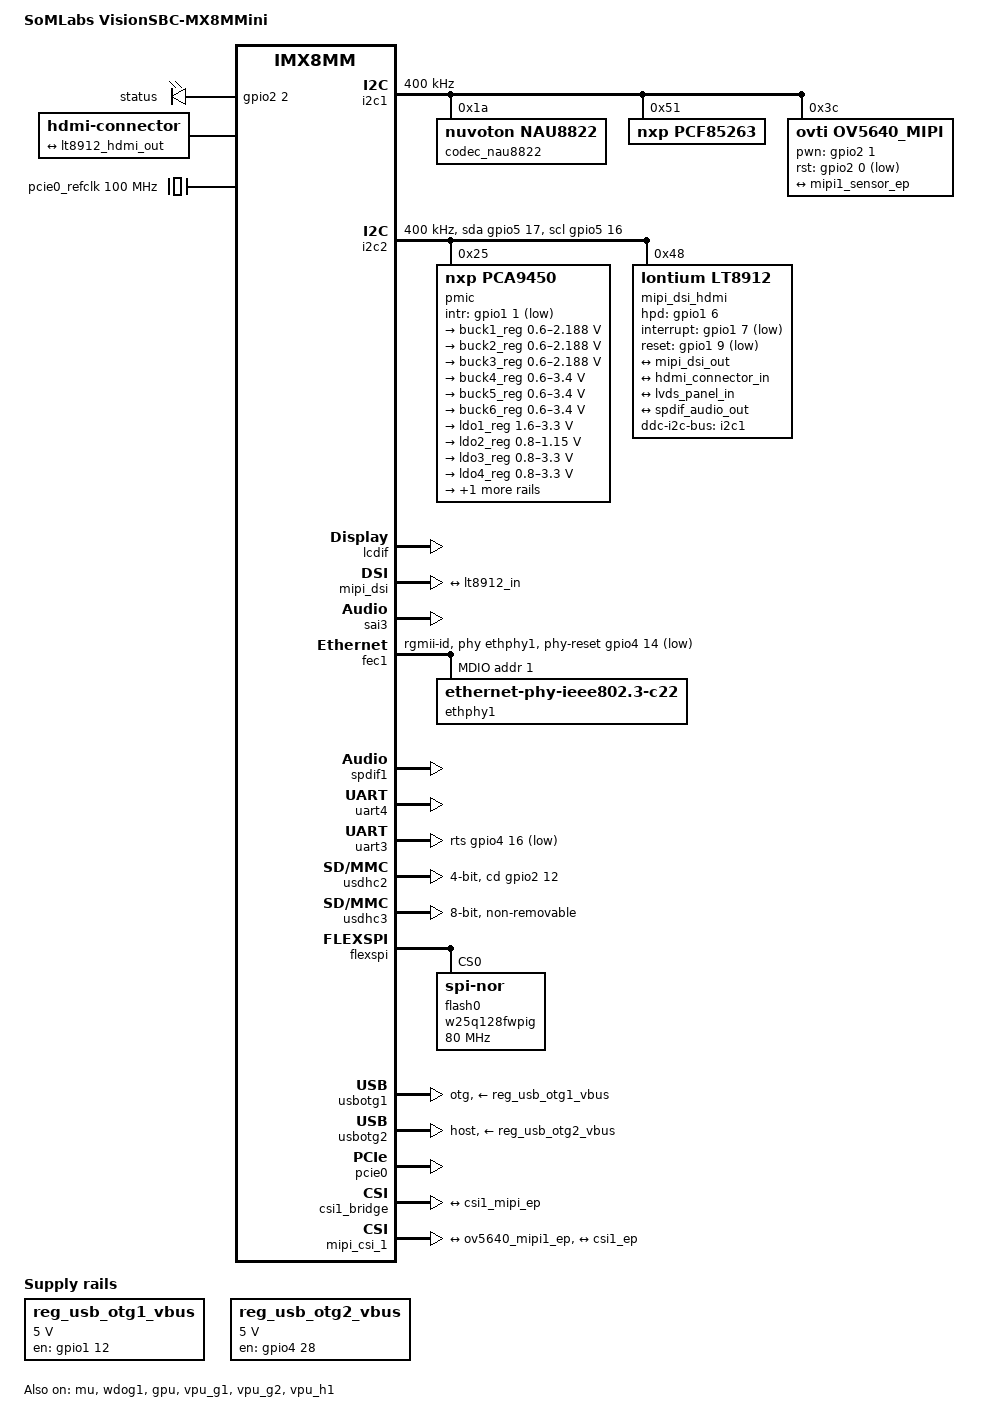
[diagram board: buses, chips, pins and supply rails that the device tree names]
// SPDX-License-Identifier: GPL-2.0-or-later
/*
 * Copyright 2020 SomLabs
 *
 */

/dts-v1/;

#include "imx8mm.dtsi"

/ {
    model = "SoMLabs VisionSBC-MX8MMini";
    compatible = "somlabs,visionsom-8mmini", "fsl,imx8mm";

    reserved-memory {
        #address-cells = <2>;
        #size-cells = <2>;
        ranges;

        rpmsg_reserved: rpmsg@0xb8000000 {
            no-map;
            reg = <0 0xb8000000 0 0x400000>;
        };
    };

    chosen {
        bootargs = "console=ttymxc3,115200 earlycon=ec_imx6q,0x30a60000,115200";
        stdout-path = &uart4;
    };

    leds {      /* dedicated led for system status */
        compatible = "gpio-leds";
        pinctrl-names = "default";
        pinctrl-0 = <&pinctrl_gpio_led>;

        status {
            label = "status";
            gpios = <&gpio2 2 0>;
            linux,default-trigger = "heartbeat";
        };
    };

    sound {
        /* generic sound card */
        compatible = "simple-audio-card";
        simple-audio-card,name = "nau8822";

        simple-audio-card,widgets =
                "Headphones", "Headphones",
                "Line Out", "Line Out",
                "Speaker", "Speaker",
                "Microphone", "Mic In";
        simple-audio-card,routing =
                "Headphones", "LHP",
                "Headphones", "RHP",
                "Speaker", "LSPK",
                "Speaker", "RSPK",
                "Line Out", "AUXOUT1",
                "Line Out", "AUXOUT2",
                "LMICP",    "Mic In",
                "RMICP",    "Mic In";

        simple-audio-card,format = "i2s";
        simple-audio-card,bitclock-master = <&dailink_master>;
        simple-audio-card,frame-master = <&dailink_master>;

        simple-audio-card,cpu {
            sound-dai = <&sai3>;
        };

        dailink_master: simple-audio-card,codec {
            sound-dai = <&codec_nau8822>;
            clocks = <&clk IMX8MM_CLK_SAI3_ROOT>;
        };
    };

    sound-hdmi {
        compatible = "fsl,imx-audio-spdif";
        model = "imx-spdif";
        spdif-controller = <&spdif1>;
        spdif-out;
        port {
            spdif_audio_out: endpoint {
                remote-endpoint = <&lt8912_audio_in>;
            };
        };
    };

    hdmi {
        compatible = "hdmi-connector";
        type = "a";

        port {
            hdmi_connector_in: endpoint {
                remote-endpoint = <&lt8912_hdmi_out>;
            };
        };
    };

    reg_usb_otg1_vbus: regulator@2 {
        compatible = "regulator-fixed";
        pinctrl-names = "default";
        pinctrl-0 = <&pinctrl_usb_otg1>;
        regulator-name = "usb_otg1_vbus";
        regulator-min-microvolt = <5000000>;
        regulator-max-microvolt = <5000000>;
        gpio = <&gpio1 12 GPIO_ACTIVE_HIGH>;
        enable-active-high;
    };

    reg_usb_otg2_vbus: regulator@3 {
        compatible = "regulator-fixed";
        pinctrl-names = "default";
        pinctrl-0 = <&pinctrl_usb_otg2_hubrst>;
        regulator-name = "usb_otg2_vbus";
        regulator-min-microvolt = <5000000>;
        regulator-max-microvolt = <5000000>;
        gpio = <&gpio4 28 GPIO_ACTIVE_HIGH>;
        enable-active-high;
    };

    panel: panel {
        compatible = "panel-lvds";
        status = "disabled";

        height-mm = <136>;
        width-mm = <217>;

        data-mapping = "vesa-24";

        panel-timing {
            clock-frequency = <75000000>;
            hactive = <1280>;
            vactive = <800>;
            hback-porch = <40>;
            hfront-porch = <40>;
            hsync-len = <48>;
            vback-porch = <29>;
            vfront-porch = <13>;
            vsync-len = <3>;
        };

        port {
            lvds_panel_in: endpoint {
                remote-endpoint = <&lt8912_lvds_out>;
            };
        };
    };

    clocks {
        pcie0_refclk: pcie0-refclk {
            compatible = "fixed-clock";
            #clock-cells = <0>;
            clock-frequency = <100000000>;
        };
    };
};

&{/reserved-memory/linux,cma} {
    alloc-ranges = <0 0x40000000 0 0x60000000>;
};

&i2c1 {
    clock-frequency = <400000>;
    pinctrl-names = "default";
    pinctrl-0 = <&pinctrl_i2c1>;
    status = "okay";

    codec_nau8822: nau8822@1a {
        compatible = "nuvoton,nau8822";
        reg = <0x1a>;
        #sound-dai-cells = <0>;
    };

    pcf85263@51 {
        compatible = "nxp,pcf85263";
        reg = <0x51>;
    };

    ov5640_mipi: ov5640_mipi@3c {
        compatible = "ovti,ov5640_mipi";
        reg = <0x3c>;
        status = "okay";
        pinctrl-names = "default";
        pinctrl-0 = <&pinctrl_csi>;
        clocks = <&clk IMX8MM_CLK_CLKO1>;
        clock-names = "csi_mclk";
        assigned-clocks = <&clk IMX8MM_CLK_CLKO1>;
        assigned-clock-parents = <&clk IMX8MM_CLK_24M>;
        assigned-clock-rates = <24000000>;
        csi_id = <0>;
        pwn-gpios = <&gpio2 1 GPIO_ACTIVE_HIGH>;
        rst-gpios = <&gpio2 0 GPIO_ACTIVE_LOW>;
        mclk = <24000000>;
        port {
            ov5640_mipi1_ep: endpoint {
                remote-endpoint = <&mipi1_sensor_ep>;
            };
        };
    };
};

&i2c2 {
    clock-frequency = <400000>;
    pinctrl-names = "default";
    pinctrl-0 = <&pinctrl_i2c2>;
    pinctrl-1 = <&pinctrl_i2c2_gpio>;
    scl-gpios = <&gpio5 16 GPIO_ACTIVE_HIGH>;
    sda-gpios = <&gpio5 17 GPIO_ACTIVE_HIGH>;
    status = "okay";

    pmic: pca9450@25 {
        reg = <0x25>;
        compatible = "nxp,pca9450";
        /* PMIC PCA9450 PMIC_nINT GPIO1_IO1 */
        pinctrl-0 = <&pinctrl_pmic>;
        gpio_intr = <&gpio1 1 GPIO_ACTIVE_LOW>;

        regulators {
            #address-cells = <1>;
            #size-cells = <0>;

            pca9450,pmic-buck2-uses-i2c-dvs;
            /* Run/Standby voltage */
            pca9450,pmic-buck2-dvs-voltage = <950000>, <850000>;

            buck1_reg: regulator@0 {
                reg = <0>;
                regulator-compatible = "buck1";
                regulator-min-microvolt = <600000>;
                regulator-max-microvolt = <2187500>;
                regulator-boot-on;
                regulator-always-on;
                regulator-ramp-delay = <3125>;
            };

            buck2_reg: regulator@1 {
                reg = <1>;
                regulator-compatible = "buck2";
                regulator-min-microvolt = <600000>;
                regulator-max-microvolt = <2187500>;
                regulator-boot-on;
                regulator-always-on;
                regulator-ramp-delay = <3125>;
            };

            buck3_reg: regulator@2 {
                reg = <2>;
                regulator-compatible = "buck3";
                regulator-min-microvolt = <600000>;
                regulator-max-microvolt = <2187500>;
                regulator-boot-on;
                regulator-always-on;
            };

            buck4_reg: regulator@3 {
                reg = <3>;
                regulator-compatible = "buck4";
                regulator-min-microvolt = <600000>;
                regulator-max-microvolt = <3400000>;
                regulator-boot-on;
                regulator-always-on;
            };

            buck5_reg: regulator@4 {
                reg = <4>;
                regulator-compatible = "buck5";
                regulator-min-microvolt = <600000>;
                regulator-max-microvolt = <3400000>;
                regulator-boot-on;
                regulator-always-on;
            };

            buck6_reg: regulator@5 {
                reg = <5>;
                regulator-compatible = "buck6";
                regulator-min-microvolt = <600000>;
                regulator-max-microvolt = <3400000>;
                regulator-boot-on;
                regulator-always-on;
            };

            ldo1_reg: regulator@6 {
                reg = <6>;
                regulator-compatible = "ldo1";
                regulator-min-microvolt = <1600000>;
                regulator-max-microvolt = <3300000>;
                regulator-boot-on;
                regulator-always-on;
            };

            ldo2_reg: regulator@7 {
                reg = <7>;
                regulator-compatible = "ldo2";
                regulator-min-microvolt = <800000>;
                regulator-max-microvolt = <1150000>;
                regulator-boot-on;
                regulator-always-on;
            };

            ldo3_reg: regulator@8 {
                reg = <8>;
                regulator-compatible = "ldo3";
                regulator-min-microvolt = <800000>;
                regulator-max-microvolt = <3300000>;
                regulator-boot-on;
                regulator-always-on;
            };

            ldo4_reg: regulator@9 {
                reg = <9>;
                regulator-compatible = "ldo4";
                regulator-min-microvolt = <800000>;
                regulator-max-microvolt = <3300000>;
                regulator-boot-on;
                regulator-always-on;
            };

            ldo5_reg: regulator@10 {
                reg = <10>;
                regulator-compatible = "ldo5";
                regulator-min-microvolt = <1800000>;
                regulator-max-microvolt = <3300000>;
            };
        };
    };

    /* MIPI-DSI to HDMI/LVDS adapter */
    mipi_dsi_hdmi: lt8912@48 {
        compatible = "lontium,lt8912";
        reg = <0x48>;
        ddc-i2c-bus = <&i2c1>;
        status = "okay";
        pinctrl-names = "default";
        pinctrl-0 = <&pinctrl_mipi2hdmi>;
        hpd-gpios = <&gpio1 6 GPIO_ACTIVE_HIGH>;
        interrupt-gpios = <&gpio1 7 GPIO_ACTIVE_LOW>;
        reset-gpios = <&gpio1 9 GPIO_ACTIVE_LOW>;

        ports {
            #address-cells = <1>;
            #size-cells = <0>;
            port@0 {
                reg = <0>;
                lt8912_in: endpoint {
                    remote-endpoint = <&mipi_dsi_out>;
                };
            };
            port@1 {
                reg = <1>;
                lt8912_hdmi_out: endpoint {
                    remote-endpoint = <&hdmi_connector_in>;
                };
            };

            port@2 {
                reg = <2>;
                lt8912_lvds_out: endpoint {
                    remote-endpoint = <&lvds_panel_in>;
                };
            };

            port@3 {
                reg = <3>;
                lt8912_audio_in: endpoint {
                    remote-endpoint = <&spdif_audio_out>;
                };
            };
        };
    };

};

&lcdif {
    status = "okay";
};

&mipi_dsi {
    status = "okay";

    port@1 {
        mipi_dsi_out: endpoint {
            remote-endpoint = <&lt8912_in>;
            attach-bridge;
        };
    };
};

&sai3 {
    pinctrl-names = "default";
    pinctrl-0 = <&pinctrl_sai3>;
    clocks = <&clk IMX8MM_CLK_SAI3_IPG>, <&clk IMX8MM_CLK_DUMMY>,
        <&clk IMX8MM_CLK_SAI1_ROOT>, <&clk IMX8MM_CLK_DUMMY>,
        <&clk IMX8MM_CLK_DUMMY>, <&clk IMX8MM_AUDIO_PLL1_OUT>,
        <&clk IMX8MM_AUDIO_PLL2_OUT>;
    clock-names = "bus", "mclk0", "mclk1", "mclk2", "mclk3", "pll8k", "pll11k";
    assigned-clocks = <&clk IMX8MM_CLK_SAI3>;
    assigned-clock-parents = <&clk IMX8MM_AUDIO_PLL1_OUT>;
    assigned-clock-rates = <12288000>;
    status = "okay";
};

&fec1 {
    pinctrl-names = "default";
    pinctrl-0 = <&pinctrl_fec1>;
    phy-mode = "rgmii-id";
    phy-handle = <&ethphy1>;
    phy-reset-gpios = <&gpio4 14 GPIO_ACTIVE_LOW>; /* GPIO4_14 */
    phy-reset-duration = <10>;
    phy-reset-post-delay = <50>;
    phy-int-gpios = <&gpio5 6 GPIO_ACTIVE_LOW>; /* GPIO5_6 */
    fsl,magic-packet;
    status = "okay";

    mdio {
        #address-cells = <1>;
        #size-cells = <0>;

        ethphy1: ethernet-phy@1 {
            compatible = "ethernet-phy-ieee802.3-c22";
            reg = <1>;
        };
    };
};

&spdif1 {
    pinctrl-names = "default";
    pinctrl-0 = <&pinctrl_spdif1>;
    assigned-clocks = <&clk IMX8MM_CLK_SPDIF1>;
    assigned-clock-parents = <&clk IMX8MM_AUDIO_PLL1_OUT>;
    assigned-clock-rates = <24576000>;
    clocks = <&clk IMX8MM_CLK_AUDIO_AHB>, <&clk IMX8MM_CLK_24M>,
        <&clk IMX8MM_CLK_SPDIF1>, <&clk IMX8MM_CLK_DUMMY>,
        <&clk IMX8MM_CLK_DUMMY>, <&clk IMX8MM_CLK_DUMMY>,
        <&clk IMX8MM_CLK_AUDIO_AHB>, <&clk IMX8MM_CLK_DUMMY>,
        <&clk IMX8MM_CLK_DUMMY>, <&clk IMX8MM_CLK_DUMMY>,
        <&clk IMX8MM_AUDIO_PLL1_OUT>, <&clk IMX8MM_AUDIO_PLL2_OUT>;
    clock-names = "core", "rxtx0", "rxtx1", "rxtx2", "rxtx3",
        "rxtx4", "rxtx5", "rxtx6", "rxtx7", "spba", "pll8k", "pll11k";
    status = "okay";
};

&mu {
    status = "okay";
};

&uart4 { /* console */
    pinctrl-names = "default";
    pinctrl-0 = <&pinctrl_uart4>;
    status = "okay";
};

&uart3 {
    pinctrl-names = "default";
    pinctrl-0 = <&pinctrl_uart3>;
    rts-gpios = <&gpio4 16 GPIO_ACTIVE_LOW>;
    linux,rs485-enabled-at-boot-time;
    status = "okay";
};

&usdhc2 {           /* uSD card interface */
    #address-cells = <1>;
    #size-cells = <0>;
    pinctrl-names = "default", "state_100mhz", "state_200mhz";
    pinctrl-0 = <&pinctrl_usdhc2>, <&pinctrl_usdhc2_cd>;
    pinctrl-1 = <&pinctrl_usdhc2_100mhz>, <&pinctrl_usdhc2_cd>;
    pinctrl-2 = <&pinctrl_usdhc2_200mhz>, <&pinctrl_usdhc2_cd>;
    cd-gpios = <&gpio2 12 GPIO_ACTIVE_HIGH>;
    no-1-8-v;           //todo: PMIC allows to control SD card voltage, add support for this in software/dts
    bus-width = <4>;
    status = "okay";
};

/*
 *  Internal eMMC
 */
&usdhc3 {
    pinctrl-names = "default", "state_100mhz", "state_200mhz";
    pinctrl-0 = <&pinctrl_usdhc3>;
    pinctrl-1 = <&pinctrl_usdhc3_100mhz>;
    pinctrl-2 = <&pinctrl_usdhc3_200mhz>;
    bus-width = <8>;
    non-removable;
    status = "okay";
};

&flexspi {
    pinctrl-names = "default";
    pinctrl-0 = <&pinctrl_flexspi0>;
    status = "okay";

    flash0: w25q128fwpig@0 {
        reg = <0>;
        #address-cells = <1>;
        #size-cells = <1>;
        compatible = "jedec,spi-nor";
        spi-max-frequency = <80000000>;
        spi-tx-bus-width = <4>;
        spi-rx-bus-width = <4>;
    };
};

&usbotg1 {
    dr_mode = "otg";
    vbus-supply = <&reg_usb_otg1_vbus>;
    picophy,pre-emp-curr-control = <3>;
    picophy,dc-vol-level-adjust = <7>;
    status = "okay";
};

&usbotg2 {
    dr_mode = "host";
    pinctrl-names = "default";
    pinctrl-0 = <&pinctrl_usb_otg2>;
    over-current-active-low;
    power-active-high;
    vbus-supply = <&reg_usb_otg2_vbus>;
    picophy,pre-emp-curr-control = <3>;
    picophy,dc-vol-level-adjust = <7>;
    status = "okay";
};

&wdog1 {
    pinctrl-names = "default";
    pinctrl-0 = <&pinctrl_wdog>;
    fsl,ext-reset-output;
    status = "okay";
};

&A53_0 {
    cpu-supply = <&buck2_reg>;
};

&gpu {
    status = "okay";
};

&vpu_g1 {
    status = "okay";
};

&vpu_g2 {
    status = "okay";
};

&vpu_h1 {
    status = "okay";
};

&pcie0{
    clocks = <&clk IMX8MM_CLK_PCIE1_ROOT>,
         <&clk IMX8MM_CLK_PCIE1_AUX>,
         <&clk IMX8MM_CLK_PCIE1_PHY>,
         <&pcie0_refclk>;
    clock-names = "pcie", "pcie_aux", "pcie_phy", "pcie_bus";
    assigned-clocks = <&clk IMX8MM_CLK_PCIE1_AUX>,
                      <&clk IMX8MM_CLK_PCIE1_PHY>,
                      <&clk IMX8MM_CLK_PCIE1_CTRL>;
    assigned-clock-rates = <10000000>, <100000000>, <250000000>;
    assigned-clock-parents = <&clk IMX8MM_SYS_PLL2_50M>,
                             <&clk IMX8MM_SYS_PLL2_100M>,
                             <&clk IMX8MM_SYS_PLL2_250M>;
    reserved-region = <&rpmsg_reserved>;
    ext_osc = <0>;
    status = "okay";
};

&csi1_bridge {
	fsl,mipi-mode;
	status = "okay";
	port {
		csi1_ep: endpoint {
			remote-endpoint = <&csi1_mipi_ep>;
		};
	};
};

&mipi_csi_1 {
	#address-cells = <1>;
	#size-cells = <0>;
	status = "okay";
	port {
		mipi1_sensor_ep: endpoint@1 {
			remote-endpoint = <&ov5640_mipi1_ep>;
			data-lanes = <2>;
			csis-hs-settle = <13>;
			csis-clk-settle = <2>;
			csis-wclk;
            swap-clk;
            swap-data;
		};

		csi1_mipi_ep: endpoint@2 {
			remote-endpoint = <&csi1_ep>;
		};
	};
};


&iomuxc {

    pinctrl_gpio_led: gpioledgrp {          /* dedicated sys-led output */
        fsl,pins = <
            MX8MM_IOMUXC_SD1_DATA0_GPIO2_IO2            0x19
        >;
    };

    pinctrl_i2c1: i2c1grp {             /* internal I2C bus - 3V3 domain */
        fsl,pins = <

            MX8MM_IOMUXC_I2C1_SCL_I2C1_SCL              0x400000c3
            MX8MM_IOMUXC_I2C1_SDA_I2C1_SDA              0x400000c3
        >;
    };

    pinctrl_i2c1_gpio: i2c1grp-gpio {
        fsl,pins = <
            MX8MM_IOMUXC_I2C1_SCL_GPIO5_IO14            0xc3
            MX8MM_IOMUXC_I2C1_SDA_GPIO5_IO15            0xc3
        >;
    };

    pinctrl_i2c2: i2c2grp {                 /* I2C for 1V8 domain */
        fsl,pins = <
            MX8MM_IOMUXC_I2C2_SCL_I2C2_SCL             0x400000c3
            MX8MM_IOMUXC_I2C2_SDA_I2C2_SDA             0x400000c3
        >;
    };

    pinctrl_i2c2_gpio: i2c2grp-gpio {
        fsl,pins = <
            MX8MM_IOMUXC_I2C2_SCL_GPIO5_IO16           0x0c3
            MX8MM_IOMUXC_I2C2_SDA_GPIO5_IO17           0x0c3
        >;
    };

    pinctrl_i2c3: i2c3grp {
        fsl,pins = <
            MX8MM_IOMUXC_I2C3_SCL_I2C3_SCL			    0xc3
            MX8MM_IOMUXC_I2C3_SDA_I2C3_SDA			    0xc3
        >;
    };

    pinctrl_i2c3_gpio: i2c3grp-gpio {
        fsl,pins = <
            MX8MM_IOMUXC_I2C3_SCL_GPIO5_IO18       		0xc3
            MX8MM_IOMUXC_I2C3_SDA_GPIO5_IO19        	0xc3
        >;
    };

    pinctrl_i2c4: i2c4grp {
        fsl,pins = <
            MX8MM_IOMUXC_I2C4_SCL_I2C4_SCL			    0xc3
            MX8MM_IOMUXC_I2C4_SDA_I2C4_SDA			    0xc3
        >;
    };

    pinctrl_i2c4_gpio: i2c4grp-gpio {
        fsl,pins = <
            MX8MM_IOMUXC_I2C4_SCL_GPIO5_IO20       		0xc3
            MX8MM_IOMUXC_I2C4_SDA_GPIO5_IO21        	0xc3
        >;
    };

    pinctrl_pmic: pmicirq {                 /* PMIC interrupt */
        fsl,pins = <
            MX8MM_IOMUXC_GPIO1_IO01_GPIO1_IO1           0x141
        >;
    };

    pinctrl_uart4: uart4grp {               /* serial console */
        fsl,pins = <
            MX8MM_IOMUXC_UART4_RXD_UART4_DCE_RX         0
            MX8MM_IOMUXC_UART4_TXD_UART4_DCE_TX         0
        >;
    };

    pinctrl_usdhc2_cd: usdhc2grpcd {        /* USDHC2 - card detect gpio */
        fsl,pins = <
            MX8MM_IOMUXC_SD2_CD_B_GPIO2_IO12            0x41
        >;
    };

    pinctrl_usdhc2: usdhc2grp {             /* USDHC2 - uSD card */
        fsl,pins = <
            MX8MM_IOMUXC_SD2_CLK_USDHC2_CLK             0x190
            MX8MM_IOMUXC_SD2_CMD_USDHC2_CMD             0x1d0
            MX8MM_IOMUXC_SD2_DATA0_USDHC2_DATA0         0x1d0
            MX8MM_IOMUXC_SD2_DATA1_USDHC2_DATA1         0x1d0
            MX8MM_IOMUXC_SD2_DATA2_USDHC2_DATA2         0x1d0
            MX8MM_IOMUXC_SD2_DATA3_USDHC2_DATA3         0x1d0
        >;
    };

    pinctrl_usdhc2_100mhz: usdhc2grp100mhz {
        fsl,pins = <
            MX8MM_IOMUXC_SD2_CLK_USDHC2_CLK             0x194
            MX8MM_IOMUXC_SD2_CMD_USDHC2_CMD             0x1d4
            MX8MM_IOMUXC_SD2_DATA0_USDHC2_DATA0         0x1d4
            MX8MM_IOMUXC_SD2_DATA1_USDHC2_DATA1         0x1d4
            MX8MM_IOMUXC_SD2_DATA2_USDHC2_DATA2         0x1d4
            MX8MM_IOMUXC_SD2_DATA3_USDHC2_DATA3         0x1d4
        >;
    };

    pinctrl_usdhc2_200mhz: usdhc2grp200mhz {
        fsl,pins = <
            MX8MM_IOMUXC_SD2_CLK_USDHC2_CLK             0x196
            MX8MM_IOMUXC_SD2_CMD_USDHC2_CMD             0x1d6
            MX8MM_IOMUXC_SD2_DATA0_USDHC2_DATA0         0x1d6
            MX8MM_IOMUXC_SD2_DATA1_USDHC2_DATA1         0x1d6
            MX8MM_IOMUXC_SD2_DATA2_USDHC2_DATA2         0x1d6
            MX8MM_IOMUXC_SD2_DATA3_USDHC2_DATA3         0x1d6
        >;
    };

    pinctrl_usdhc3: usdhc3grp {             /* USDHC3 - eMMC */
        fsl,pins = <
            MX8MM_IOMUXC_NAND_WE_B_USDHC3_CLK           0x190
            MX8MM_IOMUXC_NAND_WP_B_USDHC3_CMD           0x1d0
            MX8MM_IOMUXC_NAND_DATA04_USDHC3_DATA0       0x1d0
            MX8MM_IOMUXC_NAND_DATA05_USDHC3_DATA1       0x1d0
            MX8MM_IOMUXC_NAND_DATA06_USDHC3_DATA2       0x1d0
            MX8MM_IOMUXC_NAND_DATA07_USDHC3_DATA3       0x1d0
            MX8MM_IOMUXC_NAND_RE_B_USDHC3_DATA4         0x1d0
            MX8MM_IOMUXC_NAND_CE2_B_USDHC3_DATA5        0x1d0
            MX8MM_IOMUXC_NAND_CE3_B_USDHC3_DATA6        0x1d0
            MX8MM_IOMUXC_NAND_CLE_USDHC3_DATA7          0x1d0
            MX8MM_IOMUXC_NAND_CE1_B_USDHC3_STROBE       0x190

        >;
    };

    pinctrl_usdhc3_100mhz: usdhc3grp100mhz {
        fsl,pins = <
            MX8MM_IOMUXC_NAND_WE_B_USDHC3_CLK           0x194
            MX8MM_IOMUXC_NAND_WP_B_USDHC3_CMD           0x1d4
            MX8MM_IOMUXC_NAND_DATA04_USDHC3_DATA0       0x1d4
            MX8MM_IOMUXC_NAND_DATA05_USDHC3_DATA1       0x1d4
            MX8MM_IOMUXC_NAND_DATA06_USDHC3_DATA2       0x1d4
            MX8MM_IOMUXC_NAND_DATA07_USDHC3_DATA3       0x1d4
            MX8MM_IOMUXC_NAND_RE_B_USDHC3_DATA4         0x1d0
            MX8MM_IOMUXC_NAND_CE2_B_USDHC3_DATA5        0x1d0
            MX8MM_IOMUXC_NAND_CE3_B_USDHC3_DATA6        0x1d0
            MX8MM_IOMUXC_NAND_CLE_USDHC3_DATA7          0x1d0
            MX8MM_IOMUXC_NAND_CE1_B_USDHC3_STROBE       0x190
        >;
    };

    pinctrl_usdhc3_200mhz: usdhc3grp200mhz {
        fsl,pins = <
            MX8MM_IOMUXC_NAND_WE_B_USDHC3_CLK           0x196
            MX8MM_IOMUXC_NAND_WP_B_USDHC3_CMD           0x1d6
            MX8MM_IOMUXC_NAND_DATA04_USDHC3_DATA0       0x1d6
            MX8MM_IOMUXC_NAND_DATA05_USDHC3_DATA1       0x1d6
            MX8MM_IOMUXC_NAND_DATA06_USDHC3_DATA2       0x1d6
            MX8MM_IOMUXC_NAND_DATA07_USDHC3_DATA3       0x1d6
            MX8MM_IOMUXC_NAND_RE_B_USDHC3_DATA4         0x1d0
            MX8MM_IOMUXC_NAND_CE2_B_USDHC3_DATA5        0x1d0
            MX8MM_IOMUXC_NAND_CE3_B_USDHC3_DATA6        0x1d0
            MX8MM_IOMUXC_NAND_CLE_USDHC3_DATA7          0x1d0
            MX8MM_IOMUXC_NAND_CE1_B_USDHC3_STROBE       0x190
        >;
    };

    pinctrl_wdog: wdoggrp {
        fsl,pins = <
            MX8MM_IOMUXC_GPIO1_IO02_WDOG1_WDOG_B        0xc6
        >;
    };

    pinctrl_mipi2hdmi: mipi2hdmi {
        fsl,pins = <
            MX8MM_IOMUXC_GPIO1_IO07_GPIO1_IO7           0x81        /* interrupt */
            MX8MM_IOMUXC_GPIO1_IO09_GPIO1_IO9           0x19        /* reset */
            MX8MM_IOMUXC_GPIO1_IO06_GPIO1_IO6           0x81        /* HPD */
        >;
    };

    pinctrl_spdif1: spdif1grp {
        fsl,pins = <
            MX8MM_IOMUXC_SPDIF_TX_SPDIF1_OUT            0xd6
        >;
    };

    pinctrl_fec1: fec1grp {                       /* ethernet phy */
        fsl,pins = <
            MX8MM_IOMUXC_ENET_MDC_ENET1_MDC                 0x3
            MX8MM_IOMUXC_ENET_MDIO_ENET1_MDIO               0x3
            MX8MM_IOMUXC_ENET_TD3_ENET1_RGMII_TD3           0x1f
            MX8MM_IOMUXC_ENET_TD2_ENET1_RGMII_TD2           0x1f
            MX8MM_IOMUXC_ENET_TD1_ENET1_RGMII_TD1           0x1f
            MX8MM_IOMUXC_ENET_TD0_ENET1_RGMII_TD0           0x1f
            MX8MM_IOMUXC_ENET_RD3_ENET1_RGMII_RD3           0x91
            MX8MM_IOMUXC_ENET_RD2_ENET1_RGMII_RD2           0x91
            MX8MM_IOMUXC_ENET_RD1_ENET1_RGMII_RD1           0x91
            MX8MM_IOMUXC_ENET_RD0_ENET1_RGMII_RD0           0x91
            MX8MM_IOMUXC_ENET_TXC_ENET1_RGMII_TXC           0x1f
            MX8MM_IOMUXC_ENET_RXC_ENET1_RGMII_RXC           0x91
            MX8MM_IOMUXC_ENET_RX_CTL_ENET1_RGMII_RX_CTL     0x91
            MX8MM_IOMUXC_ENET_TX_CTL_ENET1_RGMII_TX_CTL     0x1f
            MX8MM_IOMUXC_SAI1_TXD2_GPIO4_IO14               0x19    /* phy reset */
            MX8MM_IOMUXC_ECSPI1_SCLK_GPIO5_IO6		        0x1c4   /* phy int */
        >;
    };

    pinctrl_flexspi0: flexspi0grp {
        fsl,pins = <
            MX8MM_IOMUXC_NAND_ALE_QSPI_A_SCLK           0x1c2
            MX8MM_IOMUXC_NAND_CE0_B_QSPI_A_SS0_B        0x82
            MX8MM_IOMUXC_NAND_DATA00_QSPI_A_DATA0       0x82
            MX8MM_IOMUXC_NAND_DATA01_QSPI_A_DATA1       0x82
            MX8MM_IOMUXC_NAND_DATA02_QSPI_A_DATA2       0x82
            MX8MM_IOMUXC_NAND_DATA03_QSPI_A_DATA3       0x82
        >;
    };

    pinctrl_sai3: sai3grp {
        fsl,pins = <
            MX8MM_IOMUXC_SAI3_MCLK_SAI3_MCLK            0x96
            MX8MM_IOMUXC_SAI3_TXFS_SAI3_TX_SYNC         0x96
            MX8MM_IOMUXC_SAI3_TXC_SAI3_TX_BCLK          0x96
            MX8MM_IOMUXC_SAI3_TXD_SAI3_TX_DATA0         0x96
            MX8MM_IOMUXC_SAI3_RXD_SAI3_RX_DATA0         0x96
            MX8MM_IOMUXC_SAI3_RXD_SAI3_RX_DATA0         0x96
        >;
    };

    pinctrl_usb_otg1: usbotg1 {
        fsl,pins = <
            MX8MM_IOMUXC_GPIO1_IO12_GPIO1_IO12          0x19
            MX8MM_IOMUXC_GPIO1_IO13_GPIO1_IO13          0x1c4   /* overcurrent */
        >;
    };

    pinctrl_usb_otg2: usbotg2 {
        fsl,pins = <
            MX8MM_IOMUXC_GPIO1_IO14_USB2_OTG_PWR        0x19
            MX8MM_IOMUXC_GPIO1_IO15_USB2_OTG_OC         0x1c4   /* overcurrent */
        >;
    };

    pinctrl_usb_otg2_hubrst: usbotg2hubrst {
        fsl,pins = <
            MX8MM_IOMUXC_SAI3_RXFS_GPIO4_IO28           0x19    /* USB hub reset */
        >;
    };

    pinctrl_uart3: uart3grp {                                   /* RS485 interface */
        fsl,pins = <
            MX8MM_IOMUXC_UART3_RXD_UART3_DCE_RX         0x0
            MX8MM_IOMUXC_UART3_TXD_UART3_DCE_TX         0x0
            MX8MM_IOMUXC_SAI1_TXD4_GPIO4_IO16           0x0
        >;
    };

	pinctrl_csi: csi_pwn_grp {
		fsl,pins = <
			MX8MM_IOMUXC_SD1_CLK_GPIO2_IO0		        0x19
			MX8MM_IOMUXC_SD1_CMD_GPIO2_IO1		        0x19
		>;
	};
};
